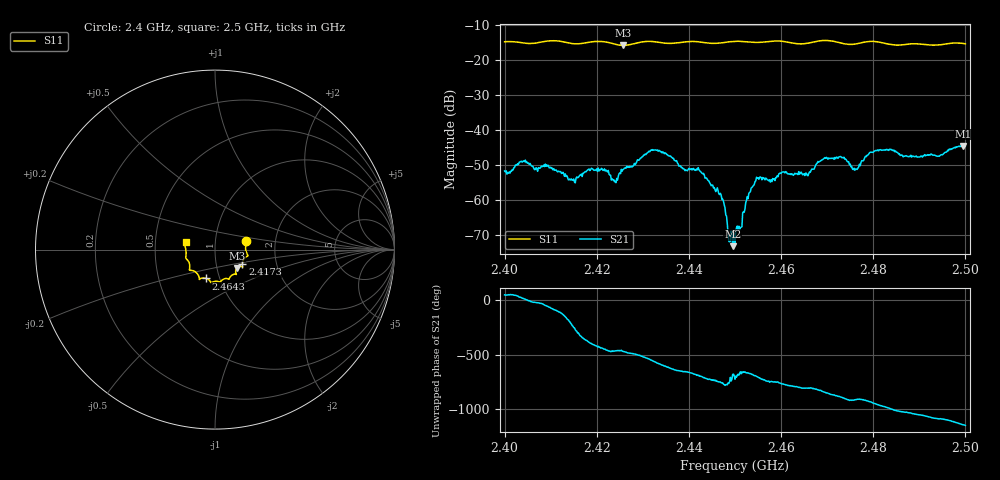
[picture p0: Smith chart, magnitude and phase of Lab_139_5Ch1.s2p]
# Hz S RI R 50
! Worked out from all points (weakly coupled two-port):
!   601 points, 2.4 GHz to 2.5 GHz, reference 50 ohm
!   highest |S21| = -44.67 dB at 2.4995 GHz (marker M1); lowest = -73.3 dB at 2.4495 GHz (marker M2)
!   lowest |S11| = -15.9 dB at 2.4257 GHz (marker M3), VSWR 1.38, Z = 62.5 - j13.1 ohm
!   |S11| at or under -10 dB: start of sweep to end of sweep
!   S12 and S22 are empty: the file has one direction only
!   S11 on the Smith chart (normalised r, x): 2.4 GHz: 1.41, +0.14; 2.4173 GHz: 1.34, -0.23; 2.4643 GHz: 0.86, -0.28; 2.5 GHz: 0.72, +0.06
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2.4e9  0.1735 0.0493  0.00179 0.00185  0 0  0 0
2.404e9  0.172 0.0251  0.00344 0.000845  0 0  0 0
2.416667e9  0.1532 -0.0746  0.00209 0.000992  0 0  0 0
2.417333e9  0.1523 -0.082  0.00245 2.88e-05  0 0  0 0
2.4215e9  0.1535 -0.0954  3.44e-05 -0.00263  0 0  0 0
2.424e9  0.1368 -0.0945  -0.000513 -0.00175  0 0  0 0
2.425667e9  0.1228 -0.1024  -0.000957 -0.00251  0 0  0 0
2.433333e9  0.1128 -0.1368  -0.00375 0.00316  0 0  0 0
2.442167e9  0.074 -0.1638  0.00231 0.00135  0 0  0 0
2.4465e9  0.0439 -0.1667  0.00106 -0.00058  0 0  0 0
2.449e9  0.032 -0.1779  0.000249 5.45e-05  0 0  0 0
2.4495e9  0.0307 -0.1795  0.000167 0.000137  0 0  0 0
2.45e9  0.0293 -0.1808  0.000227 -1.94e-05  0 0  0 0
2.454833e9  0.00329 -0.1763  0.00193 0.000627  0 0  0 0
2.464333e9  -0.0498 -0.1606  0.000305 -0.00245  0 0  0 0
2.466667e9  -0.0758 -0.1595  0.000156 -0.00272  0 0  0 0
2.4725e9  -0.089 -0.1519  -0.00384 -0.00127  0 0  0 0
2.476167e9  -0.1181 -0.1191  -0.00269 0.000548  0 0  0 0
2.483333e9  -0.1404 -0.0897  -0.000183 0.00505  0 0  0 0
2.494e9  -0.162 -0.00195  0.00414 -0.000379  0 0  0 0
2.4995e9  -0.166 0.0393  0.00282 -0.00511  0 0  0 0
2.5e9  -0.1633 0.0423  0.0022 -0.00536  0 0  0 0
